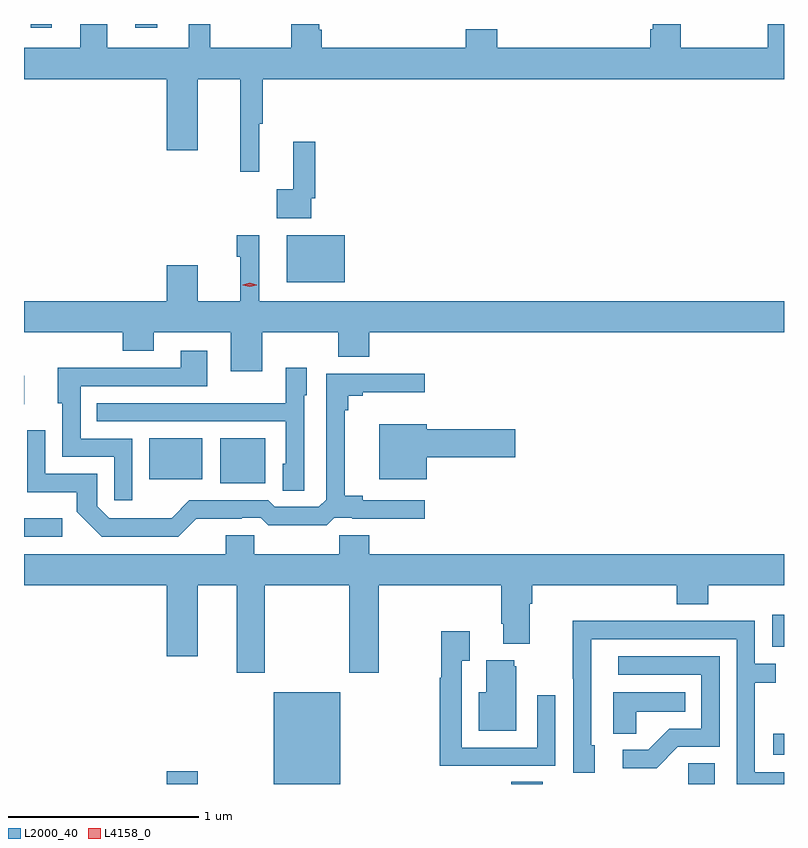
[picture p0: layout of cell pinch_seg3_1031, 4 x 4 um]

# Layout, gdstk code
import gdstk
lib = gdstk.Library(unit=1e-6, precision=1e-09)
def R(c, l, rs):  # rectangles x0, y0, x1, y1
    for r in rs: c.add(gdstk.rectangle(r[:2], r[2:], *l))
def P(c, l, *ps):  # polygons
    for p in ps: c.add(gdstk.Polygon(p, *l))
L2000_40 = (2000, 40)
L4158_0 = (4158, 0)

pinch_seg3_1031 = lib.new_cell('pinch_seg3_1031')
R(pinch_seg3_1031, L2000_40, [(536.636,686.55,536.8,686.617), (537.2,686.55,537.55,687.034), (538.451,686.55,538.616,686.561), (539.382,686.55,539.521,686.66), (539.829,686.705,539.886,686.815), (539.823,687.273,539.886,687.442), (535.886,687.852,536.086,687.949), (536.918,688.133,537.157,688.369), (536.546,688.154,536.824,688.369), (535.886,688.55,535.888,688.699), (537.269,689.192,537.574,689.437), (535.922,690.531,536.032,690.55), (536.471,690.531,536.587,690.55)])
P(pinch_seg3_1031, L2000_40, [(539.886,690.55),(539.8,690.55),(539.8,690.424),(539.343,690.424),(539.343,690.55),(539.195,690.55),(539.195,690.522),(539.183,690.522),(539.183,690.424),(538.376,690.424),(538.376,690.523),(538.211,690.523),(538.211,690.424),(537.452,690.424),(537.452,690.52),(537.439,690.52),(537.439,690.55),(537.292,690.55),(537.292,690.424),(536.867,690.424),(536.867,690.55),(536.753,690.55),(536.753,690.424),(536.323,690.424),(536.323,690.55),(536.183,690.55),(536.183,690.424),(535.886,690.424),(535.886,690.26),(536.636,690.26),(536.636,689.886),(536.8,689.886),(536.8,690.26),(537.025,690.26),(537.025,689.772),(537.125,689.772),(537.125,690.024),(537.143,690.024),(537.143,690.26),(539.886,690.26)],
  [(537.399,689.632),(537.419,689.632),(537.419,689.929),(537.302,689.929),(537.302,689.681),(537.216,689.681),(537.216,689.528),(537.399,689.528)],
  [(537.139,688.928),(537.539,688.928),(537.539,688.8),(537.703,688.8),(537.703,688.928),(539.886,688.928),(539.886,689.092),(537.124,689.092),(537.124,689.437),(537.007,689.437),(537.007,689.324),(537.025,689.324),(537.025,689.092),(536.8,689.092),(536.8,689.281),(536.636,689.281),(536.636,689.092),(535.886,689.092),(535.886,688.928),(536.405,688.928),(536.405,688.829),(536.569,688.829),(536.569,688.928),(536.975,688.928),(536.975,688.722),(537.139,688.722)],
  [(536.457,688.368),(536.184,688.368),(536.184,688.644),(536.851,688.644),(536.851,688.831),(536.711,688.831),(536.711,688.74),(536.281,688.74),(536.281,688.742),(536.063,688.742),(536.063,688.554),(536.088,688.554),(536.088,688.272),(536.361,688.272),(536.361,688.044),(536.457,688.044)],
  [(537.36,688.596),(537.373,688.596),(537.373,688.741),(537.264,688.741),(537.264,688.555),(536.947,688.555),(536.947,688.554),(536.269,688.554),(536.269,688.458),(537.264,688.458),(537.264,688.236),(537.248,688.236),(537.248,688.093),(537.36,688.093)],
  [(536.792,687.947),(537.032,687.947),(537.032,687.951),(537.132,687.951),(537.172,687.912),(537.479,687.912),(537.519,687.951),(537.613,687.951),(537.613,687.947),(537.994,687.947),(537.994,688.044),(537.67,688.044),(537.67,688.067),(537.575,688.067),(537.575,688.517),(537.593,688.517),(537.593,688.594),(537.67,688.594),(537.67,688.613),(537.994,688.613),(537.994,688.71),(537.477,688.71),(537.477,688.047),(537.438,688.008),(537.207,688.008),(537.171,688.044),(536.757,688.044),(536.663,687.95),(536.558,687.95),(536.558,687.948),(536.334,687.948),(536.271,688.011),(536.271,688.182),(535.998,688.182),(535.998,688.411),(535.902,688.411),(535.902,688.085),(536.164,688.085),(536.164,687.983),(536.294,687.852),(536.697,687.852)],
  [(538.006,688.271),(538.471,688.271),(538.471,688.418),(538.006,688.418),(538.006,688.444),(537.755,688.444),(537.755,688.154),(538.006,688.154)],
  [(537.153,687.596),(537.598,687.596),(537.598,687.135),(537.753,687.135),(537.753,687.596),(538.397,687.596),(538.397,687.394),(538.409,687.394),(538.409,687.287),(538.549,687.287),(538.549,687.5),(538.562,687.5),(538.562,687.596),(539.321,687.596),(539.321,687.497),(539.486,687.497),(539.486,687.596),(539.886,687.596),(539.886,687.76),(537.704,687.76),(537.704,687.858),(537.544,687.858),(537.544,687.76),(537.099,687.76),(537.099,687.858),(536.948,687.858),(536.948,687.76),(535.886,687.76),(535.886,687.596),(536.636,687.596),(536.636,687.222),(536.8,687.222),(536.8,687.596),(537.005,687.596),(537.005,687.135),(537.153,687.135)],
  [(539.886,686.613),(539.733,686.613),(539.733,687.082),(539.843,687.082),(539.843,687.183),(539.733,687.183),(539.733,687.408),(539.237,687.408),(539.237,687.41),(538.774,687.41),(538.774,687.103),(538.776,687.103),(538.776,686.61),(538.891,686.61),(538.891,686.754),(538.872,686.754),(538.872,687.312),(539.637,687.312),(539.637,686.55),(539.886,686.55)],
  [(538.367,686.646),(538.683,686.646),(538.683,687.016),(538.587,687.016),(538.587,686.742),(538.191,686.742),(538.191,687.199),(538.231,687.199),(538.231,687.355),(538.083,687.355),(538.083,687.11),(538.075,687.11),(538.075,686.645),(538.367,686.645)],
  [(539.328,686.745),(539.547,686.745),(539.547,687.222),(539.013,687.222),(539.013,687.126),(539.451,687.126),(539.451,686.841),(539.282,686.841),(539.171,686.73),(539.037,686.73),(539.037,686.633),(539.215,686.633)],
  [(538.477,687.171),(538.466,687.171),(538.466,687.202),(538.319,687.202),(538.319,687.034),(538.28,687.034),(538.28,686.831),(538.477,686.831)],
  [(539.109,686.93),(539.366,686.93),(539.366,687.034),(538.988,687.034),(538.988,686.815),(539.109,686.815)])
P(pinch_seg3_1031, L4158_0, [(537.074,689.167),(537.038,689.176),(537.038,689.177),(537.038,689.177),(537.074,689.187),(537.11,689.177),(537.11,689.177),(537.11,689.176)])

lib.write_gds('pinch_seg3_1031.gds')
